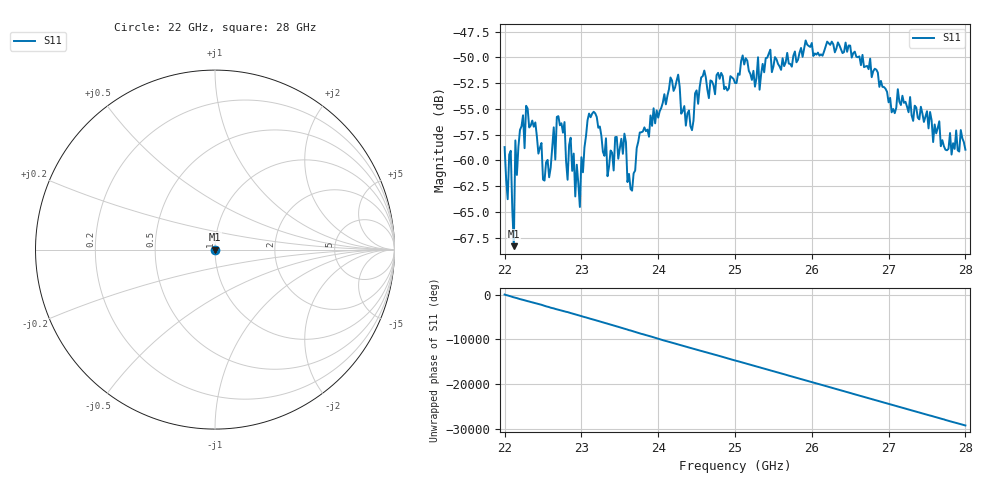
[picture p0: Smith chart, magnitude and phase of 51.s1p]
#  HZ  S  RI  R  50.00
! Rohde & Schwarz ZVA40 4Ports - Version 3.90 - 1145.1110k42 SN: 100403
! Date: 2023-10-04 07:38:40
! Measurement: S12
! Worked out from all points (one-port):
!   301 points, 22 GHz to 28 GHz, reference 50 ohm
!   lowest |S11| = -68.3 dB at 22.12 GHz (marker M1), VSWR 1.00, Z = 50 + j0.0379 ohm
!   |S11| at or under -10 dB: start of sweep to end of sweep
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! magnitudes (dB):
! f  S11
! 22 GHz  -58.7
! 22.04 GHz  -63.8
! 22.08 GHz  -59.1
! 22.12 GHz  -68.3
! 22.14 GHz  -58.1
! 22.16 GHz  -61.4
! 22.24 GHz  -55.6
! 22.26 GHz  -58.8
! 22.28 GHz  -54.7
! 22.5 GHz  -61.8
! 22.76 GHz  -57.3
! 22.98 GHz  -64.5
! 23 GHz  -59.7
! 23.1 GHz  -55.4
! 23.32 GHz  -57.8
! 23.34 GHz  -61.5
! 23.5 GHz  -58.8
! 23.56 GHz  -57.4
! 23.66 GHz  -62.9
! 23.76 GHz  -57.3
! 24.26 GHz  -51.7
! 24.44 GHz  -57.1
! 24.6 GHz  -51.3
! 25 GHz  -52.5
! 25.76 GHz  -49.8
! 26.5 GHz  -48.9
! 27.26 GHz  -55.3
! 28 GHz  -59.0
